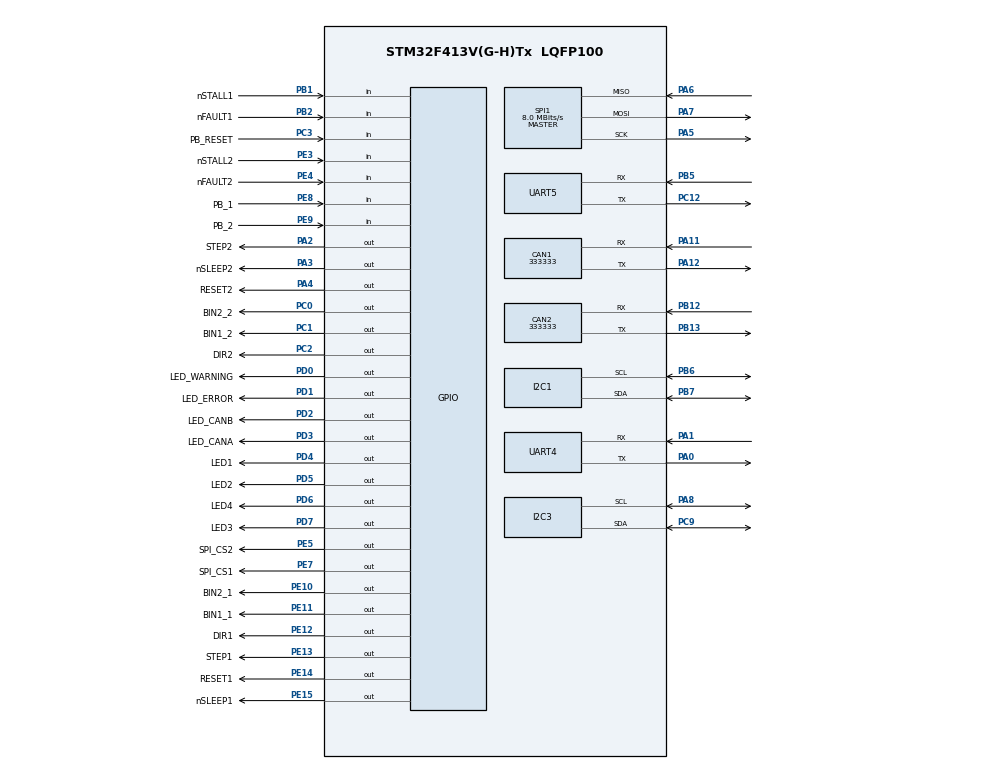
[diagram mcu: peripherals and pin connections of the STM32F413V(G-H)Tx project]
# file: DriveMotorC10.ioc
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Mcu.Family=STM32F4
PA6.Mode=Full_Duplex_Master
RCC.CortexFreq_Value=16000000
NVIC.CAN2_RX0_IRQn=true\:0\:0\:false\:false\:true\:true\:true
SPI1.VirtualType=VM_MASTER
PE11.GPIO_Label=BIN1_1
CAN2.CalculateTimeBit=3000.00
PC12.Signal=UART5_TX
PD0.GPIO_Label=LED_WARNING
PC0.GPIO_Label=BIN2_2
PA11.Mode=CAN_Activate
PB13.Signal=CAN2_TX
PD6.GPIO_Label=LED4
ProjectManager.StackSize=0x400
PA12.Signal=CAN1_TX
SPI1.Direction=SPI_DIRECTION_2LINES
PD4.Signal=GPIO_Output
TIM3.Period=2000
PB6.Signal=I2C1_SCL
PB6.Mode=I2C
SPI1.CalculateBaudRate=8.0 MBits/s
PC3.Signal=GPIO_Input
PD0.Signal=GPIO_Output
PE5.Signal=GPIO_Output
PB2.Signal=GPIO_Input
PD1.GPIO_Label=LED_ERROR
PE13.Signal=GPIO_Output
PE9.Signal=GPIO_Input
TIM3.Prescaler=8
PB1.GPIO_Label=nSTALL1
PB5.Mode=Asynchronous
PA0.Mode=Asynchronous
PE4.GPIO_Label=nFAULT2
PC9.Mode=I2C
PB7.Signal=I2C1_SDA
PA8.Signal=I2C3_SCL
PE10.Signal=GPIO_Output
PE4.Signal=GPIO_Input
PA0.Signal=UART4_TX
PD7.GPIO_Label=LED3
Mcu.Package=LQFP100
PB1.Signal=GPIO_Input
PA6.Signal=SPI1_MISO
PB12.Mode=CAN_Activate
PD5.GPIO_Label=LED2
PA2.GPIO_Label=STEP2
PE12.GPIO_Label=DIR1
PD3.GPIO_Label=LED_CANA
PB13.Mode=CAN_Activate
PE7.Signal=GPIO_Output
PD6.Signal=GPIO_Output
PE10.GPIO_Label=BIN2_1
CAN1.CalculateTimeBit=3000.00
PA4.GPIO_Label=RESET2
PC2.GPIO_Label=DIR2
VP_TIM3_VS_ClockSourceINT.Mode=Internal
PA3.Signal=GPIO_Output
CAN1.CalculateTimeQuantum=1000.0
PA5.Mode=Full_Duplex_Master
CAN2.CalculateBaudRate=333333
PA7.Mode=Full_Duplex_Master
TIM3.AutoReloadPreload=TIM_AUTORELOAD_PRELOAD_ENABLE
PD3.Signal=GPIO_Output
CAN1.CalculateBaudRate=333333
PC2.Signal=GPIO_Output
PD7.Signal=GPIO_Output
PD1.Signal=GPIO_Output
PE14.GPIO_Label=RESET1
PD5.Signal=GPIO_Output
UART5.VirtualMode=Asynchronous
PC0.Signal=GPIO_Output
UART4.VirtualMode=Asynchronous
PE15.GPIO_Label=nSLEEP1
ProjectManager.TargetToolchain=STM32CubeIDE
PE8.GPIO_Label=PB_1
RCC.USBFreq_Value=96000000
PE11.Signal=GPIO_Output
PE9.GPIO_Label=PB_2
PA1.Signal=UART4_RX
PA5.Signal=SPI1_SCK
PC12.Mode=Asynchronous
board=custom
RCC.VCOOutputFreq_Value=192000000
NVIC.TIM3_IRQn=true\:0\:0\:false\:false\:true\:true\:true
PA1.Mode=Asynchronous
PE14.Signal=GPIO_Output
PE15.Signal=GPIO_Output
PE8.Signal=GPIO_Input
SPI1.Mode=SPI_MODE_MASTER
PD4.GPIO_Label=LED1
PC1.GPIO_Label=BIN1_2
CAN2.CalculateTimeQuantum=1000.0
Mcu.Name=STM32F413V(G-H)Tx
PE7.GPIO_Label=SPI_CS1
PE12.Signal=GPIO_Output
PA2.Signal=GPIO_Output
PB3.Signal=SYS_JTDO-SWO
PA4.Signal=GPIO_Output
PB5.Signal=UART5_RX
PE13.GPIO_Label=STEP1
PA12.Mode=CAN_Activate
PE5.GPIO_Label=SPI_CS2
PA11.Signal=CAN1_RX
PB7.Mode=I2C
PB2.GPIO_Label=nFAULT1
ProjectManager.HeapSize=0x200
NVIC.PriorityGroup=NVIC_PRIORITYGROUP_4
PE3.Signal=GPIO_Input
PE3.GPIO_Label=nSTALL2
PC3.GPIO_Label=PB_RESET
PA8.Mode=I2C
PC9.Signal=I2C3_SDA
PD2.Signal=GPIO_Output
PC1.Signal=GPIO_Output
PB12.Signal=CAN2_RX
PD2.GPIO_Label=LED_CANB
NVIC.CAN1_RX0_IRQn=true\:0\:0\:false\:false\:true\:true\:true
PA3.GPIO_Label=nSLEEP2
PA7.Signal=SPI1_MOSI

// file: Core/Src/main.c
/* USER CODE BEGIN Header */
/**
  ******************************************************************************
  * @file           : main.c
  * @brief          : Main program body
  ******************************************************************************
  * @attention
  *
  * <h2><center>&copy; Copyright (c) 2021 STMicroelectronics.
  * All rights reserved.</center></h2>
  *
  * This software component is licensed by ST under BSD 3-Clause license,
  * the "License"; You may not use this file except in compliance with the
  * License. You may obtain a copy of the License at:
  *                        opensource.org/licenses/BSD-3-Clause
  *
  ******************************************************************************
  */
/* USER CODE END Header */
#include "main.h"

/* USER CODE BEGIN Includes */

#include "can.h"
#include "motor.h"

#include <assert.h>

/* USER CODE END Includes */

CAN_HandleTypeDef hcan1;
CAN_HandleTypeDef hcan2;

I2C_HandleTypeDef hi2c1;
I2C_HandleTypeDef hi2c3;

SPI_HandleTypeDef hspi1;

TIM_HandleTypeDef htim3;

UART_HandleTypeDef huart4;
UART_HandleTypeDef huart5;

void SystemClock_Config(void);
static void MX_GPIO_Init(void);
static void MX_CAN1_Init(void);
static void MX_CAN2_Init(void);
static void MX_I2C1_Init(void);
static void MX_I2C3_Init(void);
static void MX_SPI1_Init(void);
static void MX_UART4_Init(void);
static void MX_UART5_Init(void);
static void MX_TIM3_Init(void);

int main(void)
{

  /* MCU Configuration--------------------------------------------------------*/

  /* Reset of all peripherals, Initializes the Flash interface and the Systick. */
  HAL_Init();

  /* Configure the system clock */
  SystemClock_Config();

  /* Initialize all configured peripherals */
  MX_GPIO_Init();
  MX_CAN1_Init();
  MX_CAN2_Init();
  MX_I2C1_Init();
  MX_I2C3_Init();
  MX_SPI1_Init();
  MX_UART4_Init();
  MX_UART5_Init();
  MX_TIM3_Init();
  /* USER CODE BEGIN 2 */

  if (InitDrivesMoteurs(&hspi1) != 0)
  {
	  assert(0);
  }
  /* USER CODE END 2 */

  /* Infinite loop */
  /* USER CODE BEGIN WHILE */
  uint32_t time_counter = 0;

  uint32_t last_time_led = 0;
  while (1)
  {
	if (tick_1ms)
	{
		++time_counter;
		__disable_irq();
		tick_1ms = 0;
		__enable_irq();
	}

	//HAL_Delay(250);
	if ((time_counter - last_time_led) >= 250)
	{
		// Reset the last time counter
		last_time_led = time_counter;

		static GPIO_PinState led_toggle = 0;
		HAL_GPIO_WritePin(LED1_GPIO_Port, LED1_Pin, led_toggle);
		HAL_GPIO_WritePin(LED2_GPIO_Port, LED2_Pin, !led_toggle);
		led_toggle ^= 1;
	}
    /* USER CODE END WHILE */

  }
}

void SystemClock_Config(void)
{
  RCC_OscInitTypeDef RCC_OscInitStruct = {0};
  RCC_ClkInitTypeDef RCC_ClkInitStruct = {0};

  /** Configure the main internal regulator output voltage
  */
  __HAL_RCC_PWR_CLK_ENABLE();
  __HAL_PWR_VOLTAGESCALING_CONFIG(PWR_REGULATOR_VOLTAGE_SCALE1);
  /** Initializes the RCC Oscillators according to the specified parameters
  * in the RCC_OscInitTypeDef structure.
  */
  RCC_OscInitStruct.OscillatorType = RCC_OSCILLATORTYPE_HSI;
  RCC_OscInitStruct.HSIState = RCC_HSI_ON;
  RCC_OscInitStruct.HSICalibrationValue = RCC_HSICALIBRATION_DEFAULT;
  RCC_OscInitStruct.PLL.PLLState = RCC_PLL_NONE;
  if (HAL_RCC_OscConfig(&RCC_OscInitStruct) != HAL_OK)
  {
    Error_Handler();
  }
  /** Initializes the CPU, AHB and APB buses clocks
  */
  RCC_ClkInitStruct.ClockType = RCC_CLOCKTYPE_HCLK|RCC_CLOCKTYPE_SYSCLK
                              |RCC_CLOCKTYPE_PCLK1|RCC_CLOCKTYPE_PCLK2;
  RCC_ClkInitStruct.SYSCLKSource = RCC_SYSCLKSOURCE_HSI;
  RCC_ClkInitStruct.AHBCLKDivider = RCC_SYSCLK_DIV1;
  RCC_ClkInitStruct.APB1CLKDivider = RCC_HCLK_DIV1;
  RCC_ClkInitStruct.APB2CLKDivider = RCC_HCLK_DIV1;

  if (HAL_RCC_ClockConfig(&RCC_ClkInitStruct, FLASH_LATENCY_0) != HAL_OK)
  {
    Error_Handler();
  }
}

static void MX_CAN1_Init(void)
{

  hcan1.Instance = CAN1;
  hcan1.Init.Prescaler = 16;
  hcan1.Init.Mode = CAN_MODE_NORMAL;
  hcan1.Init.SyncJumpWidth = CAN_SJW_1TQ;
  hcan1.Init.TimeSeg1 = CAN_BS1_1TQ;
  hcan1.Init.TimeSeg2 = CAN_BS2_1TQ;
  hcan1.Init.TimeTriggeredMode = DISABLE;
  hcan1.Init.AutoBusOff = DISABLE;
  hcan1.Init.AutoWakeUp = DISABLE;
  hcan1.Init.AutoRetransmission = DISABLE;
  hcan1.Init.ReceiveFifoLocked = DISABLE;
  hcan1.Init.TransmitFifoPriority = DISABLE;
  if (HAL_CAN_Init(&hcan1) != HAL_OK)
  {
    Error_Handler();
  }
  /* USER CODE BEGIN CAN1_Init 2 */
	CAN_FilterTypeDef CAN_FilterType;
	CAN_FilterType.FilterBank = 0;				// Filter group (0-13)
	CAN_FilterType.SlaveStartFilterBank = 14; 	// Start from filter group (0-27)
	CAN_FilterType.FilterIdHigh = 0x0000;			// ID (high) to be filtered [0x0000, 0xFFFF]
	CAN_FilterType.FilterIdLow = 0x0000;			// ID (low)  to be filtered [0x0000, 0xFFFF]
	CAN_FilterType.FilterMaskIdHigh = 0xFFFF;		// The mask the filter must NOT match
	CAN_FilterType.FilterMaskIdLow = 0xFFFF;		// The mask the filter must NOT match
	CAN_FilterType.FilterFIFOAssignment = 0;		// Filter FIFO assignment (FIFO0, FIFO1)
	CAN_FilterType.FilterMode = CAN_FILTERMODE_IDMASK;  	// Work in identifier mask bit mode
	CAN_FilterType.FilterScale = CAN_FILTERSCALE_32BIT;	// The filter bit width, 32bits
	CAN_FilterType.FilterActivation = ENABLE;		// Enable the filter

	if(HAL_CAN_ConfigFilter(&hcan1, &CAN_FilterType) != HAL_OK)
	{
		Error_Handler();
	}

	// Open the interrupt channel for the FIFO buffer
	if(HAL_CAN_ActivateNotification(&hcan1, CAN_IT_RX_FIFO0_MSG_PENDING ) != HAL_OK)
	{
		Error_Handler();
	}

	// Start the CAN
	if(HAL_CAN_Start(&hcan1) != HAL_OK)
	{
		Error_Handler();
	}

  /* USER CODE END CAN1_Init 2 */

}

static void MX_CAN2_Init(void)
{

  hcan2.Instance = CAN2;
  hcan2.Init.Prescaler = 16;
  hcan2.Init.Mode = CAN_MODE_NORMAL;
  hcan2.Init.SyncJumpWidth = CAN_SJW_1TQ;
  hcan2.Init.TimeSeg1 = CAN_BS1_1TQ;
  hcan2.Init.TimeSeg2 = CAN_BS2_1TQ;
  hcan2.Init.TimeTriggeredMode = DISABLE;
  hcan2.Init.AutoBusOff = DISABLE;
  hcan2.Init.AutoWakeUp = DISABLE;
  hcan2.Init.AutoRetransmission = DISABLE;
  hcan2.Init.ReceiveFifoLocked = DISABLE;
  hcan2.Init.TransmitFifoPriority = DISABLE;
  if (HAL_CAN_Init(&hcan2) != HAL_OK)
  {
    Error_Handler();
  }
  /* USER CODE BEGIN CAN2_Init 2 */

	CAN_FilterTypeDef CAN_FilterType;
  	CAN_FilterType.FilterBank = 0;				// Filter group (0-13)
  	CAN_FilterType.SlaveStartFilterBank = 14; 	// Start from filter group (0-27)
  	CAN_FilterType.FilterIdHigh = 0x0000;			// ID (high) to be filtered [0x0000, 0xFFFF]
  	CAN_FilterType.FilterIdLow = 0x0000;			// ID (low)  to be filtered [0x0000, 0xFFFF]
  	CAN_FilterType.FilterMaskIdHigh = 0xFFFF;		// The mask the filter must NOT match
  	CAN_FilterType.FilterMaskIdLow = 0xFFFF;		// The mask the filter must NOT match
  	CAN_FilterType.FilterFIFOAssignment = 0;		// Filter FIFO assignment (FIFO0, FIFO1)
  	CAN_FilterType.FilterMode = CAN_FILTERMODE_IDMASK;  	// Work in identifier mask bit mode
  	CAN_FilterType.FilterScale = CAN_FILTERSCALE_32BIT;	// The filter bit width, 32bits
  	CAN_FilterType.FilterActivation = ENABLE;		// Enable the filter

  	if(HAL_CAN_ConfigFilter(&hcan2, &CAN_FilterType) != HAL_OK)
  	{
  		Error_Handler();
  	}

  	// Open the interrupt channel for the FIFO buffer
  	if(HAL_CAN_ActivateNotification(&hcan2, CAN_IT_RX_FIFO1_MSG_PENDING ) != HAL_OK)
  	{
  		Error_Handler();
  	}

  	// Start the CAN
  	if(HAL_CAN_Start(&hcan2) != HAL_OK)
  	{
  		Error_Handler();
  	}
  /* USER CODE END CAN2_Init 2 */

}

static void MX_I2C1_Init(void)
{

  hi2c1.Instance = I2C1;
  hi2c1.Init.ClockSpeed = 100000;
  hi2c1.Init.DutyCycle = I2C_DUTYCYCLE_2;
  hi2c1.Init.OwnAddress1 = 0;
  hi2c1.Init.AddressingMode = I2C_ADDRESSINGMODE_7BIT;
  hi2c1.Init.DualAddressMode = I2C_DUALADDRESS_DISABLE;
  hi2c1.Init.OwnAddress2 = 0;
  hi2c1.Init.GeneralCallMode = I2C_GENERALCALL_DISABLE;
  hi2c1.Init.NoStretchMode = I2C_NOSTRETCH_DISABLE;
  if (HAL_I2C_Init(&hi2c1) != HAL_OK)
  {
    Error_Handler();
  }

}

static void MX_I2C3_Init(void)
{

  hi2c3.Instance = I2C3;
  hi2c3.Init.ClockSpeed = 100000;
  hi2c3.Init.DutyCycle = I2C_DUTYCYCLE_2;
  hi2c3.Init.OwnAddress1 = 0;
  hi2c3.Init.AddressingMode = I2C_ADDRESSINGMODE_7BIT;
  hi2c3.Init.DualAddressMode = I2C_DUALADDRESS_DISABLE;
  hi2c3.Init.OwnAddress2 = 0;
  hi2c3.Init.GeneralCallMode = I2C_GENERALCALL_DISABLE;
  hi2c3.Init.NoStretchMode = I2C_NOSTRETCH_DISABLE;
  if (HAL_I2C_Init(&hi2c3) != HAL_OK)
  {
    Error_Handler();
  }

}

static void MX_SPI1_Init(void)
{

  /* SPI1 parameter configuration*/
  hspi1.Instance = SPI1;
  hspi1.Init.Mode = SPI_MODE_MASTER;
  hspi1.Init.Direction = SPI_DIRECTION_2LINES;
  hspi1.Init.DataSize = SPI_DATASIZE_8BIT;
  hspi1.Init.CLKPolarity = SPI_POLARITY_LOW;
  hspi1.Init.CLKPhase = SPI_PHASE_1EDGE;
  hspi1.Init.NSS = SPI_NSS_SOFT;
  hspi1.Init.BaudRatePrescaler = SPI_BAUDRATEPRESCALER_2;
  hspi1.Init.FirstBit = SPI_FIRSTBIT_MSB;
  hspi1.Init.TIMode = SPI_TIMODE_DISABLE;
  hspi1.Init.CRCCalculation = SPI_CRCCALCULATION_DISABLE;
  hspi1.Init.CRCPolynomial = 10;
  if (HAL_SPI_Init(&hspi1) != HAL_OK)
  {
    Error_Handler();
  }

}

static void MX_TIM3_Init(void)
{

  TIM_ClockConfigTypeDef sClockSourceConfig = {0};
  TIM_MasterConfigTypeDef sMasterConfig = {0};

  htim3.Instance = TIM3;
  htim3.Init.Prescaler = 8;
  htim3.Init.CounterMode = TIM_COUNTERMODE_UP;
  htim3.Init.Period = 2000;
  htim3.Init.ClockDivision = TIM_CLOCKDIVISION_DIV1;
  htim3.Init.AutoReloadPreload = TIM_AUTORELOAD_PRELOAD_ENABLE;
  if (HAL_TIM_Base_Init(&htim3) != HAL_OK)
  {
    Error_Handler();
  }
  sClockSourceConfig.ClockSource = TIM_CLOCKSOURCE_INTERNAL;
  if (HAL_TIM_ConfigClockSource(&htim3, &sClockSourceConfig) != HAL_OK)
  {
    Error_Handler();
  }
  sMasterConfig.MasterOutputTrigger = TIM_TRGO_RESET;
  sMasterConfig.MasterSlaveMode = TIM_MASTERSLAVEMODE_DISABLE;
  if (HAL_TIMEx_MasterConfigSynchronization(&htim3, &sMasterConfig) != HAL_OK)
  {
    Error_Handler();
  }
  /* USER CODE BEGIN TIM3_Init 2 */
  if (HAL_TIM_Base_Start_IT(&htim3) != HAL_OK) {
	  Error_Handler();
  }

  /* USER CODE END TIM3_Init 2 */

}

static void MX_UART4_Init(void)
{

  huart4.Instance = UART4;
  huart4.Init.BaudRate = 115200;
  huart4.Init.WordLength = UART_WORDLENGTH_8B;
  huart4.Init.StopBits = UART_STOPBITS_1;
  huart4.Init.Parity = UART_PARITY_NONE;
  huart4.Init.Mode = UART_MODE_TX_RX;
  huart4.Init.HwFlowCtl = UART_HWCONTROL_NONE;
  huart4.Init.OverSampling = UART_OVERSAMPLING_16;
  if (HAL_UART_Init(&huart4) != HAL_OK)
  {
    Error_Handler();
  }

}

static void MX_UART5_Init(void)
{

  huart5.Instance = UART5;
  huart5.Init.BaudRate = 115200;
  huart5.Init.WordLength = UART_WORDLENGTH_8B;
  huart5.Init.StopBits = UART_STOPBITS_1;
  huart5.Init.Parity = UART_PARITY_NONE;
  huart5.Init.Mode = UART_MODE_TX_RX;
  huart5.Init.HwFlowCtl = UART_HWCONTROL_NONE;
  huart5.Init.OverSampling = UART_OVERSAMPLING_16;
  if (HAL_UART_Init(&huart5) != HAL_OK)
  {
    Error_Handler();
  }

}

static void MX_GPIO_Init(void)
{
  GPIO_InitTypeDef GPIO_InitStruct = {0};

  /* GPIO Ports Clock Enable */
  __HAL_RCC_GPIOE_CLK_ENABLE();
  __HAL_RCC_GPIOC_CLK_ENABLE();
  __HAL_RCC_GPIOA_CLK_ENABLE();
  __HAL_RCC_GPIOB_CLK_ENABLE();
  __HAL_RCC_GPIOD_CLK_ENABLE();

  /*Configure GPIO pin Output Level */
  HAL_GPIO_WritePin(GPIOE, SPI_CS2_Pin|SPI_CS1_Pin|BIN2_1_Pin|BIN1_1_Pin
                          |DIR1_Pin|STEP1_Pin|RESET1_Pin|nSLEEP1_Pin, GPIO_PIN_RESET);

  /*Configure GPIO pin Output Level */
  HAL_GPIO_WritePin(GPIOC, BIN2_2_Pin|BIN1_2_Pin|DIR2_Pin, GPIO_PIN_RESET);

  /*Configure GPIO pin Output Level */
  HAL_GPIO_WritePin(GPIOA, STEP2_Pin|nSLEEP2_Pin|RESET2_Pin, GPIO_PIN_RESET);

  /*Configure GPIO pin Output Level */
  HAL_GPIO_WritePin(GPIOD, LED_WARNING_Pin|LED_ERROR_Pin|LED_CANB_Pin|LED_CANA_Pin
                          |LED1_Pin|LED2_Pin|LED4_Pin|LED3_Pin, GPIO_PIN_RESET);

  /*Configure GPIO pins : nSTALL2_Pin nFAULT2_Pin PB_1_Pin PB_2_Pin */
  GPIO_InitStruct.Pin = nSTALL2_Pin|nFAULT2_Pin|PB_1_Pin|PB_2_Pin;
  GPIO_InitStruct.Mode = GPIO_MODE_INPUT;
  GPIO_InitStruct.Pull = GPIO_NOPULL;
  HAL_GPIO_Init(GPIOE, &GPIO_InitStruct);

  /*Configure GPIO pins : SPI_CS2_Pin SPI_CS1_Pin BIN2_1_Pin BIN1_1_Pin
                           DIR1_Pin STEP1_Pin RESET1_Pin nSLEEP1_Pin */
  GPIO_InitStruct.Pin = SPI_CS2_Pin|SPI_CS1_Pin|BIN2_1_Pin|BIN1_1_Pin
                          |DIR1_Pin|STEP1_Pin|RESET1_Pin|nSLEEP1_Pin;
  GPIO_InitStruct.Mode = GPIO_MODE_OUTPUT_PP;
  GPIO_InitStruct.Pull = GPIO_NOPULL;
  GPIO_InitStruct.Speed = GPIO_SPEED_FREQ_LOW;
  HAL_GPIO_Init(GPIOE, &GPIO_InitStruct);

  /*Configure GPIO pins : BIN2_2_Pin BIN1_2_Pin DIR2_Pin */
  GPIO_InitStruct.Pin = BIN2_2_Pin|BIN1_2_Pin|DIR2_Pin;
  GPIO_InitStruct.Mode = GPIO_MODE_OUTPUT_PP;
  GPIO_InitStruct.Pull = GPIO_NOPULL;
  GPIO_InitStruct.Speed = GPIO_SPEED_FREQ_LOW;
  HAL_GPIO_Init(GPIOC, &GPIO_InitStruct);

  /*Configure GPIO pin : PB_RESET_Pin */
  GPIO_InitStruct.Pin = PB_RESET_Pin;
  GPIO_InitStruct.Mode = GPIO_MODE_INPUT;
  GPIO_InitStruct.Pull = GPIO_NOPULL;
  HAL_GPIO_Init(PB_RESET_GPIO_Port, &GPIO_InitStruct);

  /*Configure GPIO pins : STEP2_Pin nSLEEP2_Pin RESET2_Pin */
  GPIO_InitStruct.Pin = STEP2_Pin|nSLEEP2_Pin|RESET2_Pin;
  GPIO_InitStruct.Mode = GPIO_MODE_OUTPUT_PP;
  GPIO_InitStruct.Pull = GPIO_NOPULL;
  GPIO_InitStruct.Speed = GPIO_SPEED_FREQ_LOW;
  HAL_GPIO_Init(GPIOA, &GPIO_InitStruct);

  /*Configure GPIO pins : nSTALL1_Pin nFAULT1_Pin */
  GPIO_InitStruct.Pin = nSTALL1_Pin|nFAULT1_Pin;
  GPIO_InitStruct.Mode = GPIO_MODE_INPUT;
  GPIO_InitStruct.Pull = GPIO_NOPULL;
  HAL_GPIO_Init(GPIOB, &GPIO_InitStruct);

  /*Configure GPIO pins : LED_WARNING_Pin LED_ERROR_Pin LED_CANB_Pin LED_CANA_Pin
                           LED1_Pin LED2_Pin LED4_Pin LED3_Pin */
  GPIO_InitStruct.Pin = LED_WARNING_Pin|LED_ERROR_Pin|LED_CANB_Pin|LED_CANA_Pin
                          |LED1_Pin|LED2_Pin|LED4_Pin|LED3_Pin;
  GPIO_InitStruct.Mode = GPIO_MODE_OUTPUT_PP;
  GPIO_InitStruct.Pull = GPIO_NOPULL;
  GPIO_InitStruct.Speed = GPIO_SPEED_FREQ_LOW;
  HAL_GPIO_Init(GPIOD, &GPIO_InitStruct);

}

void Error_Handler(void)
{
  __disable_irq();
  while (1)
  {
  }
}

/************************ (C) COPYRIGHT STMicroelectronics *****END OF FILE****/
